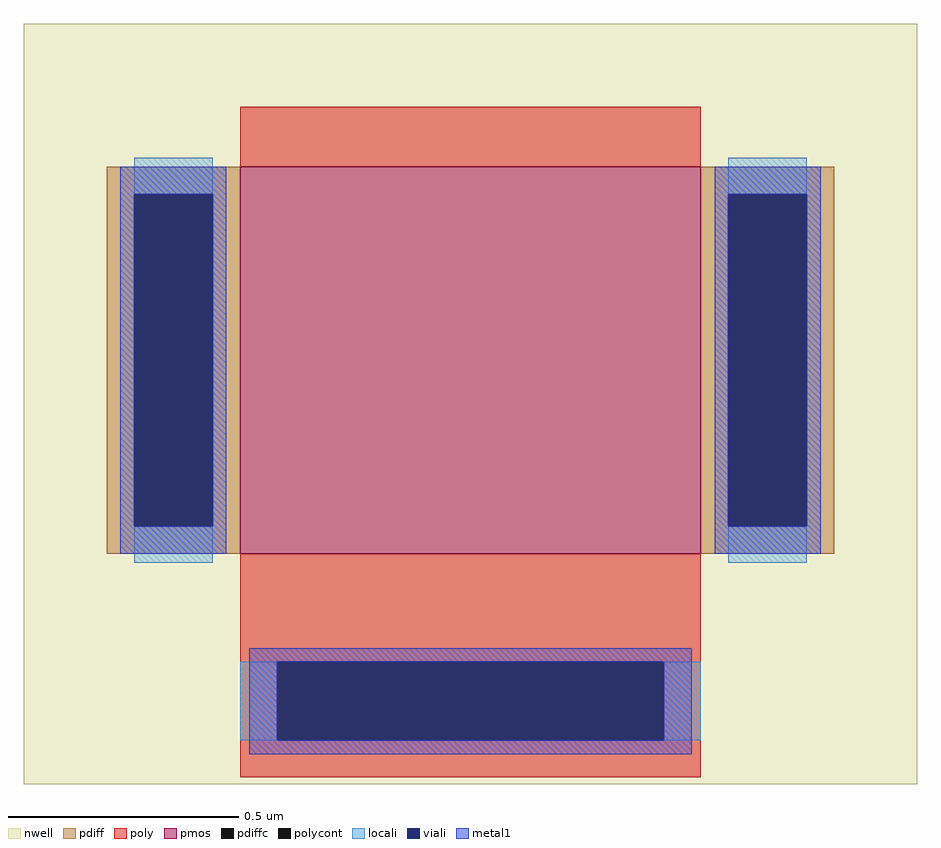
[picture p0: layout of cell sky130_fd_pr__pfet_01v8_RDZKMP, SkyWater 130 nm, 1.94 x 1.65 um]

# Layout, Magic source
magic
tech sky130A
magscale 1 2
<< nwell >>
rect -194 -148 194 182
<< pmos >>
rect -100 -48 100 120
<< pdiff >>
rect -158 108 -100 120
rect -158 -36 -146 108
rect -112 -36 -100 108
rect -158 -48 -100 -36
rect 100 108 158 120
rect 100 -36 112 108
rect 146 -36 158 108
rect 100 -48 158 -36
<< pdiffc >>
rect -146 -36 -112 108
rect 112 -36 146 108
<< poly >>
rect -100 120 100 146
rect -100 -95 100 -48
rect -100 -129 -84 -95
rect 84 -129 100 -95
rect -100 -145 100 -129
<< polycont >>
rect -84 -129 84 -95
<< locali >>
rect -146 108 -112 124
rect -146 -52 -112 -36
rect 112 108 146 124
rect 112 -52 146 -36
rect -100 -129 -84 -95
rect 84 -129 100 -95
<< viali >>
rect -146 -36 -112 108
rect 112 -36 146 108
rect -84 -129 84 -95
<< metal1 >>
rect -152 108 -106 120
rect -152 -36 -146 108
rect -112 -36 -106 108
rect -152 -48 -106 -36
rect 106 108 152 120
rect 106 -36 112 108
rect 146 -36 152 108
rect 106 -48 152 -36
rect -96 -95 96 -89
rect -96 -129 -84 -95
rect 84 -129 96 -95
rect -96 -135 96 -129
<< properties >>
string gencell sky130_fd_pr__pfet_01v8
string library sky130
string parameters w 0.84 l 1 m 1 nf 1 diffcov 100 polycov 100 guard 0 glc 1 grc 1 gtc 1 gbc 1 tbcov 100 rlcov 100 topc 0 botc 1 poverlap 0 doverlap 1 lmin 0.15 wmin 0.42 compatible {sky130_fd_pr__pfet_01v8  sky130_fd_pr__pfet_01v8_lvt sky130_fd_pr__pfet_01v8_hvt  sky130_fd_pr__pfet_g5v0d10v5} full_metal 1 viasrc 100 viadrn 100 viagate 100 viagb 0 viagr 0 viagl 0 viagt 0
<< end >>
